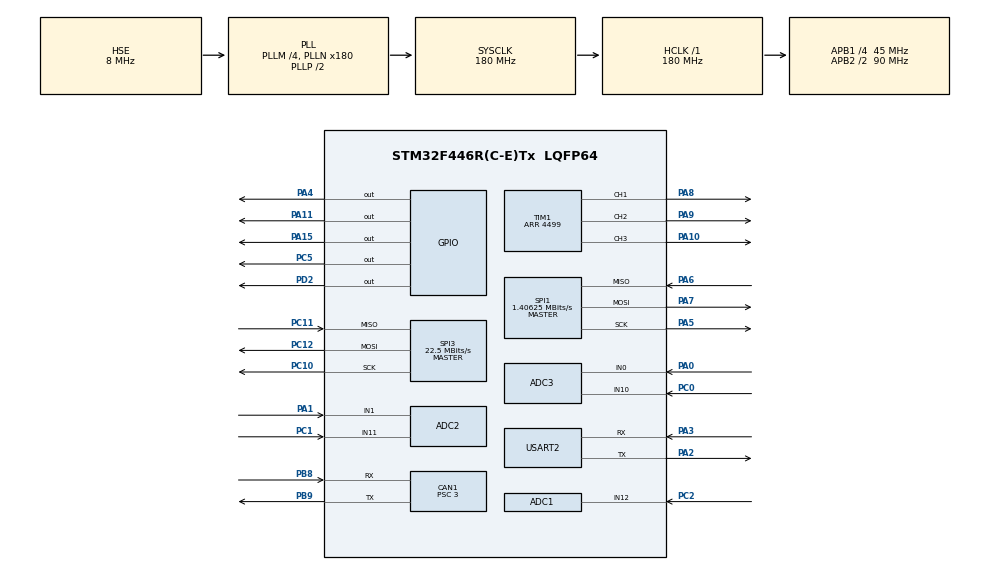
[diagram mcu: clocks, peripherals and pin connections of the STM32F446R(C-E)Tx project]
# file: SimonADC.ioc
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ADC1.Channel-2\#ChannelRegularConversion=ADC_CHANNEL_12
ADC1.Channel-3\#ChannelInjectedConversion=ADC_CHANNEL_12
ADC1.ExternalTrigInjecConv=ADC_EXTERNALTRIGINJECCONV_T1_TRGO
ADC1.ExternalTrigInjecConvEdge=ADC_EXTERNALTRIGINJECCONVEDGE_RISING
ADC1.InjNumberOfConversion=1
ADC1.InjectedOffset-3\#ChannelInjectedConversion=0
ADC1.InjectedRank-3\#ChannelInjectedConversion=1
ADC1.Mode=ADC_TRIPLEMODE_INJECSIMULT
ADC1.NbrOfConversionFlag=1
ADC1.Rank-2\#ChannelRegularConversion=1
ADC1.SamplingTime-2\#ChannelRegularConversion=ADC_SAMPLETIME_3CYCLES
ADC1.SamplingTime-3\#ChannelInjectedConversion=ADC_SAMPLETIME_3CYCLES
ADC1.master=1
ADC2.Channel-0\#ChannelRegularConversion=ADC_CHANNEL_11
ADC2.Channel-1\#ChannelInjectedConversion=ADC_CHANNEL_11
ADC2.Channel-2\#ChannelInjectedConversion=ADC_CHANNEL_1
ADC2.InjNumberOfConversion=2
ADC2.InjectedOffset-1\#ChannelInjectedConversion=0
ADC2.InjectedOffset-2\#ChannelInjectedConversion=0
ADC2.InjectedRank-1\#ChannelInjectedConversion=1
ADC2.InjectedRank-2\#ChannelInjectedConversion=2
ADC2.Mode=ADC_TRIPLEMODE_INJECSIMULT
ADC2.NbrOfConversion=1
ADC2.NbrOfConversionFlag=1
ADC2.Rank-0\#ChannelRegularConversion=1
ADC2.SamplingTime-0\#ChannelRegularConversion=ADC_SAMPLETIME_3CYCLES
ADC2.SamplingTime-1\#ChannelInjectedConversion=ADC_SAMPLETIME_3CYCLES
ADC2.SamplingTime-2\#ChannelInjectedConversion=ADC_SAMPLETIME_3CYCLES
ADC3.Channel-0\#ChannelRegularConversion=ADC_CHANNEL_10
ADC3.Channel-1\#ChannelInjectedConversion=ADC_CHANNEL_10
ADC3.Channel-2\#ChannelInjectedConversion=ADC_CHANNEL_0
ADC3.InjNumberOfConversion=2
ADC3.InjectedOffset-1\#ChannelInjectedConversion=0
ADC3.InjectedOffset-2\#ChannelInjectedConversion=0
ADC3.InjectedRank-1\#ChannelInjectedConversion=1
ADC3.InjectedRank-2\#ChannelInjectedConversion=2
ADC3.Mode=ADC_TRIPLEMODE_INJECSIMULT
ADC3.NbrOfConversionFlag=1
ADC3.Rank-0\#ChannelRegularConversion=1
ADC3.SamplingTime-0\#ChannelRegularConversion=ADC_SAMPLETIME_3CYCLES
ADC3.SamplingTime-1\#ChannelInjectedConversion=ADC_SAMPLETIME_3CYCLES
ADC3.SamplingTime-2\#ChannelInjectedConversion=ADC_SAMPLETIME_3CYCLES
CAN1.BS1=CAN_BS1_12TQ
CAN1.BS2=CAN_BS2_2TQ
CAN1.CalculateBaudRate=1000000
CAN1.CalculateTimeBit=1000
CAN1.CalculateTimeQuantum=66.66666666666666
CAN1.Prescaler=3
Dma.Request0=SPI3_RX
Dma.Request1=SPI3_TX
Dma.SPI3_RX.0.Direction=DMA_PERIPH_TO_MEMORY
Dma.SPI3_RX.0.FIFOMode=DMA_FIFOMODE_DISABLE
Dma.SPI3_RX.0.Instance=DMA1_Stream0
Dma.SPI3_RX.0.MemDataAlignment=DMA_MDATAALIGN_HALFWORD
Dma.SPI3_RX.0.MemInc=DMA_MINC_ENABLE
Dma.SPI3_RX.0.Mode=DMA_NORMAL
Dma.SPI3_RX.0.PeriphDataAlignment=DMA_PDATAALIGN_HALFWORD
Dma.SPI3_RX.0.PeriphInc=DMA_PINC_DISABLE
Dma.SPI3_RX.0.Priority=DMA_PRIORITY_HIGH
Dma.SPI3_TX.1.Direction=DMA_MEMORY_TO_PERIPH
Dma.SPI3_TX.1.FIFOMode=DMA_FIFOMODE_DISABLE
Dma.SPI3_TX.1.Instance=DMA1_Stream5
Dma.SPI3_TX.1.MemDataAlignment=DMA_MDATAALIGN_HALFWORD
Dma.SPI3_TX.1.MemInc=DMA_MINC_ENABLE
Dma.SPI3_TX.1.Mode=DMA_NORMAL
Dma.SPI3_TX.1.PeriphDataAlignment=DMA_PDATAALIGN_HALFWORD
Dma.SPI3_TX.1.PeriphInc=DMA_PINC_DISABLE
Dma.SPI3_TX.1.Priority=DMA_PRIORITY_LOW
FREERTOS.Tasks01=motorMgrTask,24,512,startMotorMgrTask,Default,NULL,Dynamic,NULL,NULL;flashWritingTas,8,128,startFlashWritingTask,Default,NULL,Dynamic,NULL,NULL
Mcu.Family=STM32F4
Mcu.Name=STM32F446R(C-E)Tx
Mcu.Package=LQFP64
NVIC.ADC_IRQn=true\:5\:0\:false\:false\:true\:true\:true\:true\:true
NVIC.CAN1_RX0_IRQn=true\:10\:0\:true\:false\:true\:true\:true\:true\:true
NVIC.DMA1_Stream0_IRQn=true\:5\:0\:false\:false\:true\:true\:false\:true\:true
NVIC.DMA1_Stream5_IRQn=true\:5\:0\:false\:false\:true\:true\:false\:true\:true
NVIC.PriorityGroup=NVIC_PRIORITYGROUP_4
NVIC.TIM1_UP_TIM10_IRQn=true\:5\:0\:false\:false\:true\:true\:true\:true\:true
NVIC.TIM6_DAC_IRQn=true\:15\:0\:false\:false\:true\:false\:false\:true\:true
NVIC.TimeBase=TIM6_DAC_IRQn
NVIC.TimeBaseIP=TIM6
NVIC.USART2_IRQn=true\:5\:0\:false\:false\:true\:true\:true\:true\:true
PA0-WKUP.Signal=ADCx_IN0
PA1.Signal=ADCx_IN1
PA10.GPIO_Speed=GPIO_SPEED_FREQ_VERY_HIGH
PA10.Signal=S_TIM1_CH3
PA11.GPIO_Speed=GPIO_SPEED_FREQ_VERY_HIGH
PA11.Signal=GPIO_Output
PA13.Mode=Serial_Wire
PA13.Signal=SYS_JTMS-SWDIO
PA14.Mode=Serial_Wire
PA14.Signal=SYS_JTCK-SWCLK
PA15.GPIO_Speed=GPIO_SPEED_FREQ_VERY_HIGH
PA15.Signal=GPIO_Output
PA2.Mode=Asynchronous
PA2.Signal=USART2_TX
PA3.Mode=Asynchronous
PA3.Signal=USART2_RX
PA4.GPIO_Speed=GPIO_SPEED_FREQ_VERY_HIGH
PA4.Signal=GPIO_Output
PA5.Mode=Full_Duplex_Master
PA5.Signal=SPI1_SCK
PA6.Mode=Full_Duplex_Master
PA6.Signal=SPI1_MISO
PA7.Mode=Full_Duplex_Master
PA7.Signal=SPI1_MOSI
PA8.GPIO_Speed=GPIO_SPEED_FREQ_VERY_HIGH
PA8.Signal=S_TIM1_CH1
PA9.GPIO_Speed=GPIO_SPEED_FREQ_VERY_HIGH
PA9.Signal=S_TIM1_CH2
PB8.Mode=CAN_Activate
PB8.Signal=CAN1_RX
PB9.Mode=CAN_Activate
PB9.Signal=CAN1_TX
PC0.Signal=ADCx_IN10
PC1.Signal=ADCx_IN11
PC10.Mode=Full_Duplex_Master
PC10.Signal=SPI3_SCK
PC11.Mode=Full_Duplex_Master
PC11.Signal=SPI3_MISO
PC12.Mode=Full_Duplex_Master
PC12.Signal=SPI3_MOSI
PC2.Signal=ADCx_IN12
PC5.GPIO_Speed=GPIO_SPEED_FREQ_VERY_HIGH
PC5.Signal=GPIO_Output
PD2.Signal=GPIO_Output
PH0-OSC_IN.Mode=HSE-External-Oscillator
PH0-OSC_IN.Signal=RCC_OSC_IN
PH1-OSC_OUT.Mode=HSE-External-Oscillator
PH1-OSC_OUT.Signal=RCC_OSC_OUT
ProjectManager.HeapSize=0x200
ProjectManager.StackSize=0x400
ProjectManager.TargetToolchain=CMake
RCC.AHBFreq_Value=180000000
RCC.APB1CLKDivider=RCC_HCLK_DIV4
RCC.APB1Freq_Value=45000000
RCC.APB1TimFreq_Value=90000000
RCC.APB2CLKDivider=RCC_HCLK_DIV2
RCC.APB2Freq_Value=90000000
RCC.APB2TimFreq_Value=180000000
RCC.CortexFreq_Value=180000000
RCC.HCLKFreq_Value=180000000
RCC.HSE_VALUE=8000000
RCC.PLLM=4
RCC.PLLN=180
RCC.PLLSourceVirtual=RCC_PLLSOURCE_HSE
RCC.SYSCLKFreq_VALUE=180000000
RCC.SYSCLKSource=RCC_SYSCLKSOURCE_PLLCLK
RCC.USBFreq_Value=180000000
RCC.VCOOutputFreq_Value=360000000
SH.ADCx_IN0.0=ADC3_IN0,IN0
SH.ADCx_IN1.0=ADC2_IN1,IN1
SH.ADCx_IN10.0=ADC3_IN10,IN10
SH.ADCx_IN11.0=ADC2_IN11,IN11
SH.ADCx_IN12.0=ADC1_IN12,IN12
SH.S_TIM1_CH1.0=TIM1_CH1,PWM Generation1 CH1
SH.S_TIM1_CH2.0=TIM1_CH2,PWM Generation2 CH2
SH.S_TIM1_CH3.0=TIM1_CH3,PWM Generation3 CH3
SPI1.BaudRatePrescaler=SPI_BAUDRATEPRESCALER_64
SPI1.CLKPhase=SPI_PHASE_2EDGE
SPI1.CalculateBaudRate=1.40625 MBits/s
SPI1.DataSize=SPI_DATASIZE_16BIT
SPI1.Direction=SPI_DIRECTION_2LINES
SPI1.Mode=SPI_MODE_MASTER
SPI1.VirtualType=VM_MASTER
SPI3.CalculateBaudRate=22.5 MBits/s
SPI3.DataSize=SPI_DATASIZE_16BIT
SPI3.Direction=SPI_DIRECTION_2LINES
SPI3.Mode=SPI_MODE_MASTER
SPI3.VirtualType=VM_MASTER
TIM1.AutoReloadPreload=TIM_AUTORELOAD_PRELOAD_ENABLE
TIM1.Channel-PWM\ Generation1\ CH1=TIM_CHANNEL_1
TIM1.Channel-PWM\ Generation2\ CH2=TIM_CHANNEL_2
TIM1.Channel-PWM\ Generation3\ CH3=TIM_CHANNEL_3
TIM1.Channel-PWM\ Generation4\ No\ Output=TIM_CHANNEL_4
TIM1.CounterMode=TIM_COUNTERMODE_CENTERALIGNED1
TIM1.OCFastMode_PWM-PWM\ Generation1\ CH1=TIM_OCFAST_ENABLE
TIM1.OCFastMode_PWM-PWM\ Generation2\ CH2=TIM_OCFAST_ENABLE
TIM1.OCFastMode_PWM-PWM\ Generation3\ CH3=TIM_OCFAST_ENABLE
TIM1.OCFastMode_PWM-PWM\ Generation4\ No\ Output=TIM_OCFAST_ENABLE
TIM1.Period=4499
TIM1.RepetitionCounter=3
TIM1.TIM_MasterOutputTrigger=TIM_TRGO_UPDATE
TIM1.TIM_MasterSlaveMode=TIM_MASTERSLAVEMODE_DISABLE
USART2.VirtualMode=VM_ASYNC
VP_FREERTOS_VS_CMSIS_V2.Mode=CMSIS_V2
VP_SYS_VS_tim6.Mode=TIM6
VP_TIM1_VS_ClockSourceINT.Mode=Internal
VP_TIM1_VS_no_output4.Mode=PWM Generation4 No Output
board=custom

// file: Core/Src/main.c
/* USER CODE BEGIN Header */
/**
  ******************************************************************************
  * @file           : main.c
  * @brief          : Main program body
  ******************************************************************************
  * @attention
  *
  * Copyright (c) 2026 STMicroelectronics.
  * All rights reserved.
  *
  * This software is licensed under terms that can be found in the LICENSE file
  * in the root directory of this software component.
  * If no LICENSE file comes with this software, it is provided AS-IS.
  *
  ******************************************************************************
  */
/* USER CODE END Header */
#include "main.h"
#include "cmsis_os.h"
#include "adc.h"
#include "can.h"
#include "dma.h"
#include "spi.h"
#include "tim.h"
#include "usart.h"
#include "gpio.h"

/* USER CODE BEGIN Includes */
#include "hw_config.h"
#include "user_config.h"
#include "math_ops.h"
#include "stm32f4xx_flash.h"
#include "flash_writer.h"
#include "preference_writer.h"
#include "drv8353.h"
#include <stdio.h>
#include <string.h>
#include "foc.h"
#include "angle_sensor.h"
#include "foc_calibration.h"
#include "pid_utils.h"
#define BLDC_PWM_FREQ 40000
#define FOC_TS (1.0f / (float)BLDC_PWM_FREQ)
#define SPEED_CONTROL_CYCLE	10
#define SPEED_TS (FOC_TS * SPEED_CONTROL_CYCLE)
/* USER CODE END Includes */

/* USER CODE BEGIN PTD */

// CAN command buffer – written by CAN ISR, consumed by foc_loop
typedef struct {
    motor_mode_t mode;
    float        des_pos;
    float        des_vel;
    float        kp;
    float        kd;
    uint8_t      mode_pending;   // 1 = new mode waiting
    uint8_t      mit_pending;    // 1 = new MIT params waiting
} can_cmd_t;

/* USER CODE END PTD */

/* USER CODE BEGIN PV */
float __float_reg[64];
int __int_reg[256];
PreferenceWriter prefs;
DRVStruct drv;
foc_t hfoc;
CalStruct hcal;

bool pose_ready = false;
float rpm = 0.0f;

volatile can_cmd_t g_can_cmd = {0};
/* USER CODE END PV */

void SystemClock_Config(void);
void MX_FREERTOS_Init(void);

/* USER CODE BEGIN 0 */

static void foc_loop(void) {

  hfoc.v_bus = get_power_voltage();
  CurrentSensor_sample_offset(&hfoc.current_sensor);

  // Update position and velocity (called every FOC cycle)
  foc_update_velocity(&hfoc, FOC_TS);
  // // pa4 set high
  // HAL_GPIO_WritePin(GPIOA, GPIO_PIN_4, GPIO_PIN_SET);
  // // pa4 set low
  // HAL_GPIO_WritePin(GPIOA, GPIO_PIN_4, GPIO_PIN_RESET);

  // Apply any pending CAN command before running the control loop
  if (g_can_cmd.mode_pending) {
    motor_mode_t new_mode = g_can_cmd.mode;
    g_can_cmd.mode_pending = 0;
    hfoc.control_mode = new_mode;
    if (new_mode == CALIBRATION_MODE) {
      foc_cal_encoder_misalignment_start(&hfoc, &hcal);
    }
  }
  if (g_can_cmd.mit_pending) {
    hfoc.mit_cmd.des_pos = g_can_cmd.des_pos;
    hfoc.mit_cmd.des_vel = g_can_cmd.des_vel;
    hfoc.mit_cmd.kp      = g_can_cmd.kp;
    hfoc.mit_cmd.kd      = g_can_cmd.kd;
    g_can_cmd.mit_pending = 0;
  }

  switch(hfoc.control_mode) {
    case TORQUE_CONTROL_MODE:
      hfoc.id_ref = 0.0f;
      hfoc.iq_ref = 1.0f; // Set a constant torque reference for testing
      foc_current_control_update(&hfoc, FOC_TS);
      break;
    case SPEED_CONTROL_MODE:
      hfoc.vel_ref = TWO_PI;  // 1 rev/s = 2π rad/s (~60 RPM)
      foc_speed_control_update(&hfoc, hfoc.vel_ref);
      foc_current_control_update(&hfoc, FOC_TS);
      break;
    case MIT_MODE: {
      static uint32_t mit_tick = 0;
      static uint32_t period_start_ms = 0;
      const float freq = 1.0f;  // Hz - one full oscillation every 1 s
      const uint32_t period_ticks = (uint32_t)(1.0f / (freq * FOC_TS));
      float t = (float)mit_tick * FOC_TS;
      if (++mit_tick >= period_ticks) {
        mit_tick = 0;
        uint32_t now_ms = HAL_GetTick();
        // printf("period elapsed: %lu ms\n", now_ms - period_start_ms);
        period_start_ms = now_ms;
      }

      hfoc.mit_cmd.kp = 20.0f;
      hfoc.mit_cmd.kd = 0.2f;
      // Sine between 0° and 180°: center 90°, amplitude 90°
      hfoc.mit_cmd.des_pos = PI / 2.0f + PI / 2.0f * fast_sin(TWO_PI * freq * t);
      // Feedforward velocity (rad/s):
      hfoc.mit_cmd.des_vel = 0.0f;
      hfoc.mit_cmd.f_tau = 0.0f;
      foc_mit_control_update(&hfoc);
      foc_current_control_update(&hfoc, FOC_TS);
      break;
    }
    case ENCODER_MODE:
      // Motor coasts; angle is updated by the SPI interrupt.
      // Raw vs compensated comparison is printed in the main loop.
      open_loop_voltage_control(&hfoc, 0.0f, 0.0f, 0.0f);
      break;
    case SET_ZERO_MODE:
      // Coast while main loop captures zero and saves to flash
      open_loop_voltage_control(&hfoc, 0.0f, 0.0f, 0.0f);
      break;
    case POWER_UP_MODE:
      // open_loop_voltage_control(&hfoc, 0.0f, 0.0f, 0.0f);
      break;
    case CALIBRATION_MODE:
      foc_cal_encoder_misalignment_update(&hfoc, &hcal, FOC_TS);
      break;
    default:
      break;
  }

}

/* USER CODE END 0 */

int main(void)
{

  /* MCU Configuration--------------------------------------------------------*/

  /* Reset of all peripherals, Initializes the Flash interface and the Systick. */
  HAL_Init();

  /* USER CODE BEGIN Init */
  preference_writer_init(&prefs, 6);
  preference_writer_load(prefs);
  if(E_ZERO==-1){E_ZERO = 0;}
  if(M_ZERO==-1){M_ZERO = 0;}
  if(isnan(I_BW) || I_BW==-1){I_BW = 1000;}
  if(isnan(I_MAX) || I_MAX ==-1){I_MAX=40;}
  if(isnan(I_FW_MAX) || I_FW_MAX ==-1){I_FW_MAX=0;}
  if(CAN_ID==-1){CAN_ID = 1;}
  if(CAN_MASTER==-1){CAN_MASTER = 0;}
  if(CAN_TIMEOUT==-1){CAN_TIMEOUT = 10000;}
  if(isnan(R_NOMINAL) || R_NOMINAL==-1){R_NOMINAL = 0.0f;}
  if(isnan(TEMP_MAX) || TEMP_MAX==-1){TEMP_MAX = 125.0f;}
  if(isnan(I_MAX_CONT) || I_MAX_CONT==-1){I_MAX_CONT = 14.0f;}
  if(isnan(I_CAL)||I_CAL==-1){I_CAL = 2.0f;}
  I_CAL=5.0f;
  if(isnan(PPAIRS) || PPAIRS==-1){PPAIRS = 21.0f;}
  if(isnan(GR) || GR==-1){GR = 1.0f;}
  if(isnan(KT) || KT==-1){KT = 1.0f;}
  if(isnan(KP_MAX) || KP_MAX==-1){KP_MAX = 500.0f;}
  if(isnan(KD_MAX) || KD_MAX==-1){KD_MAX = 5.0f;}
  if(isnan(P_MAX)){P_MAX = 12.5f;}
  if(isnan(P_MIN)){P_MIN = -12.5f;}
  if(isnan(V_MAX)){V_MAX = 65.0f;}
  if(isnan(V_MIN)){V_MIN = -65.0f;}

  /* USER CODE END Init */

  /* Configure the system clock */
  SystemClock_Config();

  /* Initialize all configured peripherals */
  MX_GPIO_Init();
  MX_DMA_Init();
  MX_ADC1_Init();
  MX_ADC2_Init();
  MX_ADC3_Init();
  MX_CAN1_Init();
  MX_SPI1_Init();
  MX_SPI3_Init();
  MX_TIM1_Init();
  MX_USART2_UART_Init();
  /* USER CODE BEGIN 2 */
  HAL_CAN_Start(&CAN_H); //  Start CAN peripheral
  if (HAL_CAN_ActivateNotification(&hcan1, CAN_IT_RX_FIFO0_MSG_PENDING) != HAL_OK)
  {
    // Error_Handler();
  }

    /* DRV8323 setup */
  drv_init(drv, I_MAX);

  MA732_config(&hfoc.angle_sensor.ma732, &ENC_SPI);
  for (int i=0; i<20; i++) {
    MA732_start(&hfoc.angle_sensor.ma732);
    HAL_Delay(10);
  }
    // MA732_start(&hfoc.angle_sensor.ma732);

  __HAL_TIM_SET_COUNTER(&htim1, htim1.Instance->ARR); // Set counter to half of ARR for center-aligned PWM
    /* Turn on PWM */
  HAL_TIM_PWM_Start(&htim1, TIM_CHANNEL_1);
  HAL_TIM_PWM_Start(&htim1, TIM_CHANNEL_2);
  HAL_TIM_PWM_Start(&htim1, TIM_CHANNEL_3);
  // HAL_TIM_PWM_Start(&htim1, TIM_CHANNEL_4);
  // the total adc reading takes about 5us, so set the offset to 2.5us to allow for some margin.
  // uint32_t offset = (uint32_t)((htim1.Instance->ARR+ 1) * 2  / 180 * 2.5);
  // uint32_t offset = (uint32_t)(2.5f * 180);
  // htim1.Instance->CCR4 = htim1.Instance->ARR - 180;

  foc_motor_init(&hfoc, POLE_PAIR, 360.0f);
  foc_sensor_init(&hfoc, 0.0f, NORMAL_DIR);
  foc_timer_init(&hfoc, &htim1);
  foc_set_limit_current(&hfoc, 20.0f);
  init_trig_lut();

  pid_reset(&hfoc.id_ctrl);
  pid_set_ts(&hfoc.id_ctrl, FOC_TS);
  pid_set_kp(&hfoc.id_ctrl, 0.2f);
  pid_set_ki(&hfoc.id_ctrl, 5.0f);
  pid_set_max_out_dynamic(&hfoc.id_ctrl, 0.8f);
  pid_set_deadband(&hfoc.id_ctrl, 0.0001f);

  pid_reset(&hfoc.iq_ctrl);
  pid_set_ts(&hfoc.iq_ctrl, FOC_TS);
  pid_set_kp(&hfoc.iq_ctrl, 0.2f);
  pid_set_ki(&hfoc.iq_ctrl, 5.0f);
  pid_set_max_out_dynamic(&hfoc.iq_ctrl, 0.8f);
  pid_set_deadband(&hfoc.iq_ctrl, 0.0001f);

  // Speed PID parameter
  pid_reset(&hfoc.speed_ctrl);
  pid_set_ts(&hfoc.speed_ctrl, SPEED_TS);
  pid_set_kp(&hfoc.speed_ctrl, 0.01f);
  pid_set_ki(&hfoc.speed_ctrl, 0.1f);
  pid_set_kd(&hfoc.speed_ctrl, 0.0001f);
  pid_set_d_filter_fc(&hfoc.speed_ctrl, 100.0f);
  pid_set_max_d(&hfoc.speed_ctrl, 10.0f);
  pid_set_max_out(&hfoc.speed_ctrl, 10.0f);
  pid_set_deadband(&hfoc.speed_ctrl, 0.01f);

  	// current sensor
  hfoc.control_mode = MIT_MODE;
  CurrentSensor_init(&hfoc.current_sensor, &(ADC1->JDR1), &(ADC2->JDR1), I_SCALE, 2048, 2048);
	HAL_ADCEx_InjectedStart_IT(&hadc1);
	HAL_ADCEx_InjectedStart_IT(&hadc2);
	// voltage sensor
	HAL_ADCEx_InjectedStart_IT(&hadc3);
  HAL_Delay(50);

  drv_enable_gd(drv);
  htim1.Instance->CCR1 = 0u;
  htim1.Instance->CCR2 = 0u;
  htim1.Instance->CCR3 = 0u;
  CurrentSensor_calibrate(&hfoc.current_sensor, 1000U);
  printf("ADC offsets: A=%d, B=%d\r\n",
         hfoc.current_sensor.adc_a_offset, hfoc.current_sensor.adc_b_offset);

  if (CALIBRATION_DONE_FLAG == 1) {
    hfoc.angle_sensor.e_zero     = E_ZERO_RAD;
    hfoc.angle_sensor.m_zero     = isnan(M_ZERO_RAD) ? 0.0f : M_ZERO_RAD;
    hfoc.angle_sensor.sensor_dir = (PHASE_ORDER == 1) ? REVERSE_DIR : NORMAL_DIR;
    hfoc.angle_sensor.pole_pairs = ((uint8_t)PPAIRS > 0) ? (uint8_t)PPAIRS : POLE_PAIR;
    memcpy(hfoc.angle_sensor.encd_error_comp, &ENCODER_LUT,
           sizeof(hfoc.angle_sensor.encd_error_comp));
    hfoc.angle_sensor.lut_ready = 1;
    printf("Encoder cal loaded: e_zero=%.4f, ppairs=%d, dir=%s\r\n",
           hfoc.angle_sensor.e_zero, hfoc.angle_sensor.pole_pairs,
           (hfoc.angle_sensor.sensor_dir == REVERSE_DIR) ? "rev" : "norm");
  }
  /* USER CODE END 2 */

  /* Init scheduler */
  osKernelInitialize();  /* Call init function for freertos objects (in cmsis_os2.c) */
  MX_FREERTOS_Init();

  /* Start scheduler */
  osKernelStart();

  /* We should never get here as control is now taken by the scheduler */

  /* Infinite loop */
  while (1)
  {

  }
}

void SystemClock_Config(void)
{
  RCC_OscInitTypeDef RCC_OscInitStruct = {0};
  RCC_ClkInitTypeDef RCC_ClkInitStruct = {0};

  /** Configure the main internal regulator output voltage
  */
  __HAL_RCC_PWR_CLK_ENABLE();
  __HAL_PWR_VOLTAGESCALING_CONFIG(PWR_REGULATOR_VOLTAGE_SCALE1);

  /** Initializes the RCC Oscillators according to the specified parameters
  * in the RCC_OscInitTypeDef structure.
  */
  RCC_OscInitStruct.OscillatorType = RCC_OSCILLATORTYPE_HSE;
  RCC_OscInitStruct.HSEState = RCC_HSE_ON;
  RCC_OscInitStruct.PLL.PLLState = RCC_PLL_ON;
  RCC_OscInitStruct.PLL.PLLSource = RCC_PLLSOURCE_HSE;
  RCC_OscInitStruct.PLL.PLLM = 4;
  RCC_OscInitStruct.PLL.PLLN = 180;
  RCC_OscInitStruct.PLL.PLLP = RCC_PLLP_DIV2;
  RCC_OscInitStruct.PLL.PLLQ = 2;
  RCC_OscInitStruct.PLL.PLLR = 2;
  if (HAL_RCC_OscConfig(&RCC_OscInitStruct) != HAL_OK)
  {
    Error_Handler();
  }

  /** Activate the Over-Drive mode
  */
  if (HAL_PWREx_EnableOverDrive() != HAL_OK)
  {
    Error_Handler();
  }

  /** Initializes the CPU, AHB and APB buses clocks
  */
  RCC_ClkInitStruct.ClockType = RCC_CLOCKTYPE_HCLK|RCC_CLOCKTYPE_SYSCLK
                              |RCC_CLOCKTYPE_PCLK1|RCC_CLOCKTYPE_PCLK2;
  RCC_ClkInitStruct.SYSCLKSource = RCC_SYSCLKSOURCE_PLLCLK;
  RCC_ClkInitStruct.AHBCLKDivider = RCC_SYSCLK_DIV1;
  RCC_ClkInitStruct.APB1CLKDivider = RCC_HCLK_DIV4;
  RCC_ClkInitStruct.APB2CLKDivider = RCC_HCLK_DIV2;

  if (HAL_RCC_ClockConfig(&RCC_ClkInitStruct, FLASH_LATENCY_5) != HAL_OK)
  {
    Error_Handler();
  }
}

/* USER CODE BEGIN 4 */

// CAN protocol
//  ID = CAN_ID   : mode switch  – data[0] = motor_mode_t value
//  ID = CAN_ID+1 : MIT command  – 8 bytes
//    [0..1] int16  des_pos  scaled over [P_MIN .. P_MAX]   (rad)
//    [2..3] int16  des_vel  scaled over [V_MIN .. V_MAX]   (rad/s)
//    [4..5] uint16 kp       scaled over [0 .. KP_MAX]
//    [6..7] uint16 des_kd   scaled over [0 .. KD_MAX]
//
// Scaling helpers (matches MIT mini-cheetah convention):
//   float = lo + (int16 + 32768) / 65535 * (hi - lo)
static inline float scale_int16(int16_t raw, float lo, float hi)
{
    return lo + ((float)(raw + 32768) / 65535.0f) * (hi - lo);
}
static inline float scale_uint16(uint16_t raw, float hi)
{
    return ((float)raw / 65535.0f) * hi;
}

void HAL_CAN_RxFifo0MsgPendingCallback(CAN_HandleTypeDef *hcan)
{
    CAN_RxHeaderTypeDef hdr;
    uint8_t data[8];

    if (HAL_CAN_GetRxMessage(hcan, CAN_RX_FIFO0, &hdr, data) != HAL_OK)
        return;

    uint32_t id = hdr.ExtId;

    if (id == (uint32_t)CAN_ID) {
        // Mode switch: single byte
        g_can_cmd.mode         = (motor_mode_t)data[0];
        g_can_cmd.mode_pending = 1;
    }
    else if (id == (uint32_t)(CAN_ID + 1) && hdr.DLC == 8) {
        // MIT command: 8-byte packed
        int16_t  raw_pos = (int16_t)((data[0] << 8) | data[1]);
        int16_t  raw_vel = (int16_t)((data[2] << 8) | data[3]);
        uint16_t raw_kp  = (uint16_t)((data[4] << 8) | data[5]);
        uint16_t raw_kd  = (uint16_t)((data[6] << 8) | data[7]);

        g_can_cmd.des_pos    = scale_int16(raw_pos, P_MIN, P_MAX);
        g_can_cmd.des_vel    = scale_int16(raw_vel, V_MIN, V_MAX);
        g_can_cmd.kp         = scale_uint16(raw_kp, KP_MAX);
        g_can_cmd.kd         = scale_uint16(raw_kd, KD_MAX);
        g_can_cmd.mit_pending = 1;
    }
}

void HAL_SPI_TxRxCpltCallback(SPI_HandleTypeDef *hspi)
{
  if (hspi->Instance == ENC_SPI.Instance)
  {
    pose_ready = true;
    angle_sensor_update(&hfoc.angle_sensor);
  }
}

void HAL_SPI_ErrorCallback(SPI_HandleTypeDef *hspi)
{
  if (hspi->Instance == ENC_SPI.Instance)
  {
    HAL_GPIO_WritePin(ENC_CS, GPIO_PIN_SET);
  }
}
void HAL_ADCEx_InjectedConvCpltCallback(ADC_HandleTypeDef* hadc) {
	if (hadc->Instance == ADC1) {
        HAL_GPIO_WritePin(GPIOA, GPIO_PIN_4, GPIO_PIN_SET);
    HAL_GPIO_WritePin(GPIOA, GPIO_PIN_4, GPIO_PIN_RESET);
  }
	if (hadc->Instance == ADC2) {
    HAL_GPIO_WritePin(GPIOA, GPIO_PIN_4, GPIO_PIN_SET);
    HAL_GPIO_WritePin(GPIOA, GPIO_PIN_4, GPIO_PIN_RESET);
  }
	if (hadc->Instance == ADC3) {
    HAL_GPIO_WritePin(GPIOA, GPIO_PIN_4, GPIO_PIN_SET);
    HAL_GPIO_WritePin(GPIOA, GPIO_PIN_4, GPIO_PIN_RESET);
    foc_loop();
	}

}
/* USER CODE END 4 */

void HAL_TIM_PeriodElapsedCallback(TIM_HandleTypeDef *htim)
{
  if (htim->Instance == TIM6)
  {
    HAL_IncTick();
  }
}

void Error_Handler(void)
{
  __disable_irq();
  while (1)
  {
  }
}

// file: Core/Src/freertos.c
/* USER CODE BEGIN Header */
/**
  ******************************************************************************
  * File Name          : freertos.c
  * Description        : Code for freertos applications
  ******************************************************************************
  * @attention
  *
  * Copyright (c) 2026 STMicroelectronics.
  * All rights reserved.
  *
  * This software is licensed under terms that can be found in the LICENSE file
  * in the root directory of this software component.
  * If no LICENSE file comes with this software, it is provided AS-IS.
  *
  ******************************************************************************
  */
/* USER CODE END Header */

#include "FreeRTOS.h"
#include "task.h"
#include "main.h"
#include "cmsis_os.h"

/* USER CODE BEGIN Includes */
#include "foc.h"
#include "foc_calibration.h"
#include "angle_sensor.h"
#include "user_config.h"
#include "preference_writer.h"
#include <stdio.h>
#include <string.h>
/* USER CODE END Includes */

/* USER CODE BEGIN Variables */
extern foc_t       hfoc;
extern CalStruct   hcal;
extern PreferenceWriter prefs;

static osSemaphoreId_t flash_write_sem;
/* USER CODE END Variables */
/* Definitions for motorMgrTask */
osThreadId_t motorMgrTaskHandle;
const osThreadAttr_t motorMgrTask_attributes = {
  .name = "motorMgrTask",
  .stack_size = 512 * 4,
  .priority = (osPriority_t) osPriorityNormal,
};
/* Definitions for flashWritingTas */
osThreadId_t flashWritingTasHandle;
const osThreadAttr_t flashWritingTas_attributes = {
  .name = "flashWritingTas",
  .stack_size = 128 * 4,
  .priority = (osPriority_t) osPriorityLow,
};

void startMotorMgrTask(void *argument);
void startFlashWritingTask(void *argument);

void MX_FREERTOS_Init(void); /* (MISRA C 2004 rule 8.1) */

void MX_FREERTOS_Init(void) {

  /* USER CODE BEGIN RTOS_SEMAPHORES */
  flash_write_sem = osSemaphoreNew(1, 0, NULL);
  /* USER CODE END RTOS_SEMAPHORES */

  /* Create the thread(s) */
  /* creation of motorMgrTask */
  motorMgrTaskHandle = osThreadNew(startMotorMgrTask, NULL, &motorMgrTask_attributes);

  /* creation of flashWritingTas */
  flashWritingTasHandle = osThreadNew(startFlashWritingTask, NULL, &flashWritingTas_attributes);

}

void startMotorMgrTask(void *argument)
{
  /* USER CODE BEGIN startMotorMgrTask */
  for (;;)
  {
    osDelay(10);

    if (hfoc.control_mode == SET_ZERO_MODE) {
      angle_sensor_set_m_zero(&hfoc.angle_sensor);
      M_ZERO_RAD = hfoc.angle_sensor.m_zero;
      osSemaphoreRelease(flash_write_sem);
      printf("Mechanical zero set: m_zero=%.4f rad\r\n", hfoc.angle_sensor.m_zero);
      hfoc.control_mode = POWER_UP_MODE;
    }

    if (hcal.cal_state == CAL_STATE_LUT_POSTPROC_PENDING) {
      foc_cal_lut_postprocess(&hfoc, &hcal);
      memcpy(&ENCODER_LUT, hfoc.angle_sensor.encd_error_comp,
             sizeof(hfoc.angle_sensor.encd_error_comp));
      E_ZERO_RAD   = hfoc.angle_sensor.e_zero;
      CALIBRATION_DONE_FLAG = 1;
      osSemaphoreRelease(flash_write_sem);
      printf("LUT calibration complete, saved to flash\r\n");
    }

    if (hfoc.control_mode == ENCODER_MODE) {
      printf("m_angle_raw:  %.4f rad\r\n", hfoc.angle_sensor.s_angle_rad_raw);
      printf("m_angle_comp: %.4f rad\r\n", hfoc.angle_sensor.s_angle_rad);
    }
      //  printf("ADC1->JDR1: %d\r\n", ADC1->JDR1);
      //  printf("ADC2->JDR1: %d\r\n", ADC2->JDR1);
      //  printf("ADC3->JDR1: %d\r\n", ADC3->JDR1);
      // printf("ADC2->JDR2: %d\r\n", ADC2->JDR2);
      // printf("ADC3->JDR2: %d\r\n", ADC3->JDR2);
      // float vsense = (ADC1->JDR2 * 3.3f) / 4095.0f;
      // float temp_c = ((vsense - 0.76f) / 0.0025f) + 25.0f;
      // printf("temperature: %.1f C\r\n", temp_c);
    // printf("id: %.3f\r\n",       hfoc.id);
    // printf("id_des: %.3f\r\n",   hfoc.id_ref);
    // printf("id_filt: %.3f\r\n",  hfoc.id_filtered);
    // printf("iq: %.3f\r\n",       hfoc.iq);
    // printf("i_q_des: %.3f\r\n",  hfoc.iq_ref);
    // printf("i_q_filt: %.3f\r\n", hfoc.iq_filtered);
    // printf("i_a: %.3f\r\n",      hfoc.current_sensor.ia_filtered);
    // printf("i_b: %.3f\r\n",      hfoc.current_sensor.ib_filtered);
    // printf("i_c: %.3f\r\n",      hfoc.current_sensor.ic_filtered);
    // printf("m_angle: %.4f\r\n",  hfoc.angle_sensor.s_angle_rad);
    // printf("e_angle: %.4f\r\n",  hfoc.angle_sensor.e_rad);
    // printf("rpm: %.3f\r\n",      hfoc.angle_sensor.actual_vel);
    // printf("rpm_ref: %.3f\r\n",  hfoc.vel_ref);
  }
  /* USER CODE END startMotorMgrTask */
}

void startFlashWritingTask(void *argument)
{
  /* USER CODE BEGIN startFlashWritingTask */
  for (;;)
  {
    // Block indefinitely until motor_mgr_task signals that flash needs updating
    osSemaphoreAcquire(flash_write_sem, osWaitForever);
    if (!preference_writer_ready(prefs)) { preference_writer_open(&prefs); }
    preference_writer_flush(&prefs);
    preference_writer_close(&prefs);
    preference_writer_load(prefs);
  }
  /* USER CODE END startFlashWritingTask */
}
